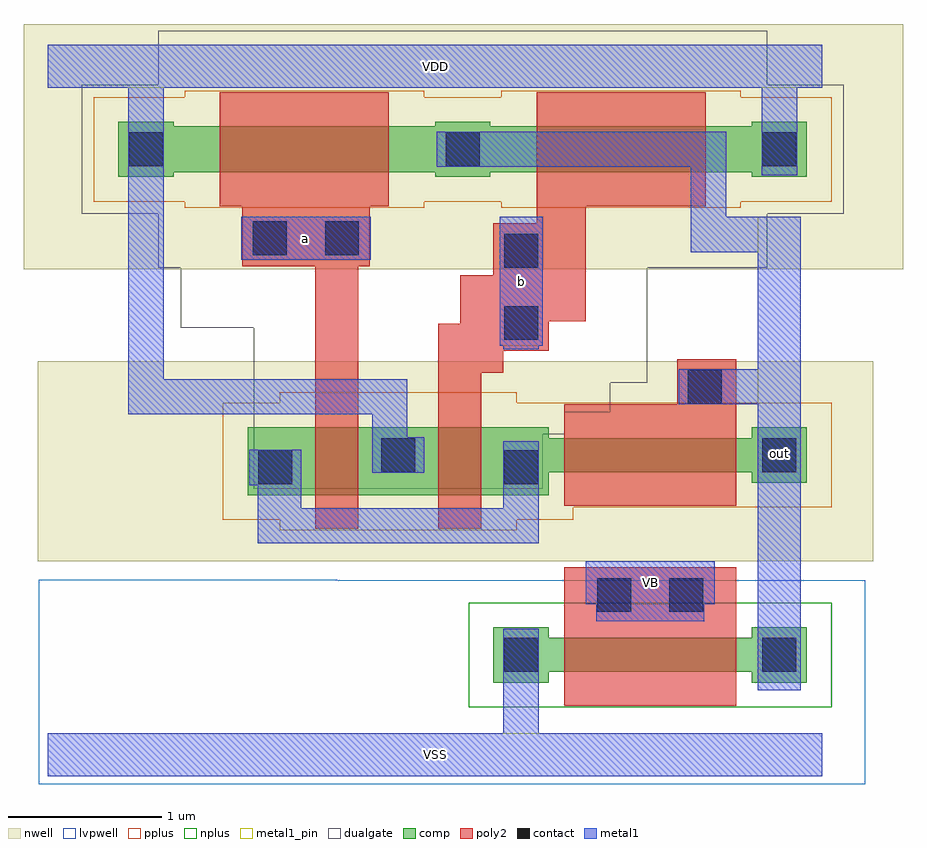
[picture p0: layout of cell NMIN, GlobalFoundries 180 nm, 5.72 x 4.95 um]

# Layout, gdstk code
import gdstk
lib = gdstk.Library(unit=1e-6, precision=1e-09)
def R(c, l, rs):  # rectangles x0, y0, x1, y1
    for r in rs: c.add(gdstk.rectangle(r[:2], r[2:], *l))
def A(c, l, x, y, w, h, nx, ny, dx, dy):  # array of equal rectangles
    R(c, l, [(x+i*dx, y+j*dy, x+i*dx+w, y+j*dy+h) for i in range(nx) for j in range(ny)])
nwell = (21, 0)
comp = (22, 0)
poly2 = (30, 0)
pplus = (31, 0)
nplus = (32, 0)
contact = (33, 0)
metal1 = (34, 0)
metal1_pin = (34, 10)
dualgate = (55, 0)
lvpwell = (204, 0)

nmin = lib.new_cell('NMIN')
R(nmin, nwell, [(-0.065,1.26,5.37,2.56), (-0.155,3.16,5.565,4.755)])
A(nmin, comp, 0.46, 3.76, 0.36, 0.03, 3, 2, 2.06, 0.33)
R(nmin, comp, [(2.9,0.47,3.26,0.54), (4.58,0.47,4.94,0.54), (2.9,0.54,4.94,0.76), (2.9,0.76,3.26,0.83), (4.58,0.76,4.94,0.83), (1.3,1.69,3.26,1.84), (4.58,1.77,4.94,1.84), (1.3,1.84,4.94,2.06), (1.3,2.06,3.26,2.13), (4.58,2.06,4.94,2.13), (0.46,3.79,4.94,4.09)])
R(nmin, poly2, [(3.36,0.32,4.48,1.22), (1.74,1.47,2.02,3.18), (2.54,1.47,2.82,2.485), (3.36,1.62,4.48,2.28), (4.095,2.28,4.48,2.575), (2.54,2.485,2.965,2.63), (2.54,2.63,3.26,2.805), (2.685,2.805,3.26,2.82), (2.685,2.82,3.5,3.12), (2.9,3.12,3.5,3.46), (1.265,3.18,2.095,3.57), (3.18,3.46,3.5,3.57), (1.12,3.57,2.22,4.31), (3.18,3.57,4.28,4.31)])
R(nmin, pplus, [(1.51,1.46,3.05,1.53), (1.14,1.53,3.42,1.61), (1.14,1.61,5.1,2.29), (1.51,2.29,3.05,2.36), (0.89,3.56,2.45,3.6), (2.95,3.56,4.51,3.6), (0.3,3.6,5.1,4.28), (0.89,4.28,2.45,4.32), (2.95,4.28,4.51,4.32)])
R(nmin, nplus, [(2.74,0.31,5.1,0.99)])
A(nmin, contact, 0.53, 3.83, 0.22, 0.22, 3, 1, 2.06, 0)
R(nmin, contact, [(2.97,0.54,3.19,0.76), (4.65,0.54,4.87,0.76), (3.575,0.93,3.795,1.15), (4.045,0.93,4.265,1.15), (1.37,1.76,1.59,1.98), (2.97,1.76,3.19,1.98), (2.17,1.84,2.39,2.06), (4.65,1.84,4.87,2.06), (4.165,2.285,4.385,2.505), (2.97,2.7,3.19,2.92), (2.97,3.17,3.19,3.39), (1.335,3.25,1.555,3.47), (1.805,3.25,2.025,3.47)])
R(nmin, metal1, [(0,-0.14,5.04,0.14), (2.965,0.14,3.195,0.82), (4.62,0.42,4.9,2.28), (3.57,0.87,4.27,0.98), (3.5,0.98,4.34,1.26), (1.365,1.375,3.195,1.605), (1.365,1.605,1.65,1.755), (2.965,1.605,3.195,2.04), (1.31,1.755,1.65,1.985), (2.11,1.835,2.45,2.065), (2.11,2.065,2.34,2.215), (0.525,2.215,2.34,2.445), (4.105,2.28,4.9,2.51), (0.525,2.445,0.755,4.34), (4.62,2.51,4.9,3.27), (2.965,2.64,3.195,2.66), (2.94,2.66,3.22,3.5), (1.26,3.22,2.1,3.5), (4.185,3.27,4.9,3.5), (4.185,3.5,4.415,3.825), (4.645,3.77,4.875,4.34), (2.53,3.825,4.415,4.055), (0,4.34,5.04,4.62)])
R(nmin, metal1_pin, [(0,-0.14,5.04,0.14), (4.62,0.42,4.9,3.5), (3.5,0.98,4.34,1.26), (2.94,2.66,3.22,3.5), (1.26,3.22,2.1,3.5), (0,4.34,5.04,4.62)])
R(nmin, dualgate, [(1.34,1.73,3.22,2.085), (1.34,2.085,3.365,2.23), (1.34,2.23,3.66,2.42), (1.34,2.42,3.9,2.78), (0.865,2.78,3.9,3.17), (0.72,3.17,4.68,3.52), (0.22,3.52,5.18,4.36), (0.72,4.36,4.68,4.71)])
R(nmin, lvpwell, [(-0.06,-0.19,5.32,1.135), (-0.06,1.135,1.885,1.14)])
nmin.add(gdstk.Label('VSS', (2.52,0), layer=34, texttype=10))
nmin.add(gdstk.Label('VDD', (2.52,4.48), layer=34, texttype=10))
nmin.add(gdstk.Label('out', (4.76,1.96), layer=34, texttype=10))
nmin.add(gdstk.Label('a', (1.68,3.36), layer=34, texttype=10))
nmin.add(gdstk.Label('b', (3.08,3.08), layer=34, texttype=10))
nmin.add(gdstk.Label('VB', (3.92,1.12), layer=34, texttype=10))

lib.write_gds('NMIN.gds')
